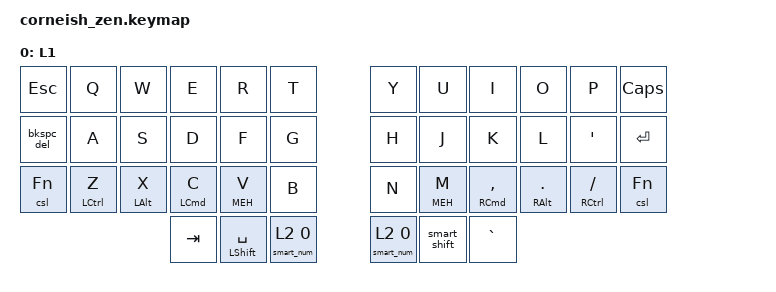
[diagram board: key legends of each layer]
#include "../config/corneish_zen.keymap"

/ {
  keymap {
    compatible = "zmk,keymap";

    layer_1 {
      label = "L1";
      bindings = <
// ╭───────────────┬───────────────┬───────────────┬───────────────┬───────────────┬───────────────╮   ╭───────────────┬───────────────┬───────────────┬───────────────┬───────────────┬───────────────╮
//  0               1               2               3               4               5                   6               7               8               9               10              11
    &kp ESC         &kp Q           &kp W           &kp E           &kp R           &kp T               &kp Y           &kp U           &kp I           &kp O           &kp P           &kp CAPSLOCK
// ├───────────────├───────────────┼───────────────┼───────────────┼───────────────┼───────────────┤   ├───────────────├───────────────┼───────────────┼───────────────┼───────────────┼───────────────┤
//  12              13              14              15              16              17                  18              19              20              21              22              23
    &bkspc_del      &kp A           &kp S           &kp D           &kp F           &kp G               &kp H           &kp J           &kp K           &kp L           &kp SQT         &kp ENTER
// ├───────────────├───────────────┼───────────────┼───────────────┼───────────────┼───────────────┤   ├───────────────├───────────────┼───────────────┼───────────────┼───────────────┼───────────────┤
//  24              25              26              27              28              29                  30              31              32              33              34              35
    &csl Fn         &mt LCTRL Z     &mt LALT X      &mt LCMD C      &mt MEH V       &kp B               &kp N           &mt MEH M       &mt RCMD COMMA  &mt RALT DOT   &mt RCTRL SLASH  &csl Fn
// ╰───────────────┴───────────────┴───────────────┼───────────────┼───────────────┼───────────────┤   ├───────────────├───────────────┼───────────────┼───────────────┴───────────────┴───────────────╯
//                                                  36              37              38                  39              40              41
                                                    &kp TAB         &mt LSHFT SPACE &smart_num L2 0     &smart_num L2 0 &smart_shift    &kp GRAVE
//                                                 ╰───────────────┴───────────────┴───────────────╯   ╰───────────────┴───────────────┴───────────────╯
      >;
    };
  };
};
